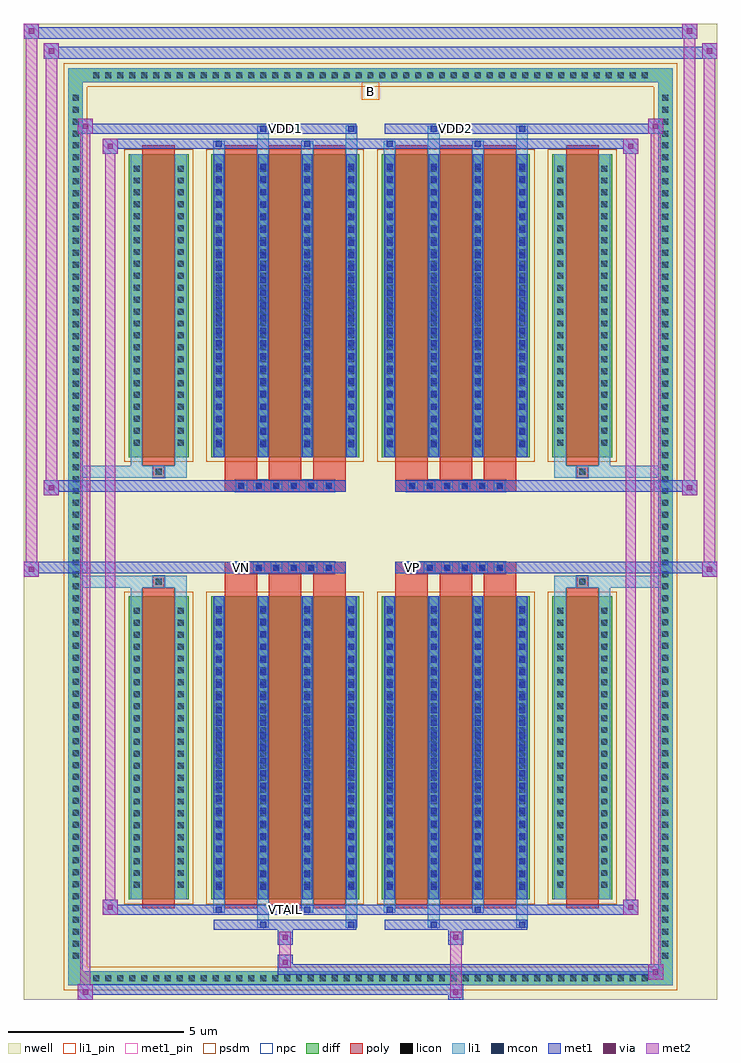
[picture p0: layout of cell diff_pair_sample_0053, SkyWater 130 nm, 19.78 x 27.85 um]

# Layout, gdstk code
import gdstk
lib = gdstk.Library(unit=1e-6, precision=5e-09)
def R(c, l, rs):  # rectangles x0, y0, x1, y1
    for r in rs: c.add(gdstk.rectangle(r[:2], r[2:], *l))
def A(c, l, x, y, w, h, nx, ny, dx, dy):  # array of equal rectangles
    R(c, l, [(x+i*dx, y+j*dy, x+i*dx+w, y+j*dy+h) for i in range(nx) for j in range(ny)])
def P(c, l, *ps):  # polygons
    for p in ps: c.add(gdstk.Polygon(p, *l))
nwell = (64, 20)
diff = (65, 20)
poly = (66, 20)
licon = (66, 44)
li1_pin = (67, 16)
li1 = (67, 20)
mcon = (67, 44)
met1_pin = (68, 16)
met1 = (68, 20)
via = (68, 44)
met2 = (69, 20)
psdm = (94, 20)
npc = (95, 20)

diff_pair_sample_0053 = lib.new_cell('diff_pair_sample_0053')
R(diff_pair_sample_0053, nwell, [(-9.89,-13.49,9.89,14.36), (-7.21,-11.68,-0.01,-0.8), (0.01,-11.68,7.21,-0.8), (-7.21,0.8,-0.01,11.68), (0.01,0.8,7.21,11.68)])
A(diff_pair_sample_0053, diff, -8.025, -13.09, 0.41, 0.41, 47, 2, 0.34, 25.77)
A(diff_pair_sample_0053, diff, -8.62, -12.445, 0.41, 0.41, 1, 73, 0, 0.34)
A(diff_pair_sample_0053, diff, 8.21, -12.445, 0.41, 0.41, 1, 73, 0, 0.34)
R(diff_pair_sample_0053, diff, [(-8.025,-13.09,8.025,-12.68), (-8.62,-12.445,-8.21,12.445), (8.21,-12.445,8.62,12.445), (-6.9,-10.635,-5.19,-1.985), (-4.55,-10.635,-0.32,-1.985), (0.32,-10.635,4.55,-1.985), (5.19,-10.635,6.9,-1.985), (-6.9,1.985,-5.19,10.635), (-4.55,1.985,-0.32,10.635), (0.32,1.985,4.55,10.635), (5.19,1.985,6.9,10.635), (-8.025,12.68,8.025,13.09)])
P(diff_pair_sample_0053, diff, [(8.62,13.09),(-8.62,13.09),(-8.62,-12.68),(-8.21,-12.68),(-8.21,12.68),(8.21,12.68),(8.21,-12.68),(-8.21,-12.68),(-8.62,-12.68),(-8.62,-13.09),(8.62,-13.09)])
A(diff_pair_sample_0053, poly, -4.16, -10.885, 0.93, 9.15, 3, 2, 1.26, 12.62)
A(diff_pair_sample_0053, poly, 0.71, -10.885, 0.93, 9.15, 3, 2, 1.26, 12.62)
A(diff_pair_sample_0053, poly, -4.16, -1.735, 0.93, 0.405, 3, 2, 1.26, 3.065)
A(diff_pair_sample_0053, poly, 0.71, -1.735, 0.93, 0.405, 3, 2, 1.26, 3.065)
A(diff_pair_sample_0053, poly, -3.85, -1.33, 0.33, 0.33, 6, 2, 0.5, 2.33)
A(diff_pair_sample_0053, poly, 1.02, -1.33, 0.33, 0.33, 6, 2, 0.5, 2.33)
R(diff_pair_sample_0053, poly, [(-6.51,-10.885,-5.58,-1.735), (5.58,-10.885,6.51,-1.735), (-6.21,-1.735,-5.88,-1.405), (-6.21,-1.735,-5.88,-1.405), (5.88,-1.735,6.21,-1.405), (5.88,-1.735,6.21,-1.405), (-4.16,-1.33,-0.71,-1), (0.71,-1.33,4.16,-1), (-4.16,1,-0.71,1.33), (0.71,1,4.16,1.33), (-6.21,1.405,-5.88,1.735), (-6.21,1.405,-5.88,1.735), (5.88,1.405,6.21,1.735), (5.88,1.405,6.21,1.735), (-6.51,1.735,-5.58,10.885), (5.58,1.735,6.51,10.885)])
A(diff_pair_sample_0053, licon, -7.905, -12.97, 0.17, 0.17, 47, 2, 0.34, 25.77)
A(diff_pair_sample_0053, licon, -8.5, -12.325, 0.17, 0.17, 1, 73, 0, 0.34)
A(diff_pair_sample_0053, licon, 8.33, -12.325, 0.17, 0.17, 1, 73, 0, 0.34)
A(diff_pair_sample_0053, licon, -6.76, -10.305, 0.17, 0.17, 1, 24, 0, 0.34)
A(diff_pair_sample_0053, licon, -5.5, -10.305, 0.17, 0.17, 1, 24, 0, 0.34)
A(diff_pair_sample_0053, licon, -4.41, -10.305, 0.17, 0.17, 4, 24, 1.26, 0.34)
A(diff_pair_sample_0053, licon, 0.46, -10.305, 0.17, 0.17, 4, 24, 1.26, 0.34)
A(diff_pair_sample_0053, licon, 5.33, -10.305, 0.17, 0.17, 1, 24, 0, 0.34)
A(diff_pair_sample_0053, licon, 6.59, -10.305, 0.17, 0.17, 1, 24, 0, 0.34)
A(diff_pair_sample_0053, licon, -3.77, -1.25, 0.17, 0.17, 6, 2, 0.5, 2.33)
A(diff_pair_sample_0053, licon, 1.1, -1.25, 0.17, 0.17, 6, 2, 0.5, 2.33)
A(diff_pair_sample_0053, licon, -6.76, 2.315, 0.17, 0.17, 1, 24, 0, 0.34)
A(diff_pair_sample_0053, licon, -5.5, 2.315, 0.17, 0.17, 1, 24, 0, 0.34)
A(diff_pair_sample_0053, licon, -4.41, 2.315, 0.17, 0.17, 4, 24, 1.26, 0.34)
A(diff_pair_sample_0053, licon, 0.46, 2.315, 0.17, 0.17, 4, 24, 1.26, 0.34)
A(diff_pair_sample_0053, licon, 5.33, 2.315, 0.17, 0.17, 1, 24, 0, 0.34)
A(diff_pair_sample_0053, licon, 6.59, 2.315, 0.17, 0.17, 1, 24, 0, 0.34)
R(diff_pair_sample_0053, licon, [(-6.13,-1.655,-5.96,-1.485), (5.96,-1.655,6.13,-1.485), (-6.13,1.485,-5.96,1.655), (5.96,1.485,6.13,1.655)])
R(diff_pair_sample_0053, li1_pin, [(-0.25,12.18,0.25,12.68)])
A(diff_pair_sample_0053, li1, -7.985, -13.05, 0.33, 0.33, 47, 2, 0.34, 25.77)
A(diff_pair_sample_0053, li1, -8.58, -12.405, 0.33, 0.33, 1, 73, 0, 0.34)
A(diff_pair_sample_0053, li1, 8.25, -12.405, 0.33, 0.33, 1, 73, 0, 0.34)
A(diff_pair_sample_0053, li1, -4.49, -10.635, 0.33, 8.65, 4, 2, 1.26, 12.62)
A(diff_pair_sample_0053, li1, 0.38, -10.635, 0.33, 8.65, 4, 2, 1.26, 12.62)
A(diff_pair_sample_0053, li1, -6.84, -10.385, 0.33, 0.33, 1, 24, 0, 0.34)
A(diff_pair_sample_0053, li1, -5.58, -10.385, 0.33, 0.33, 1, 24, 0, 0.34)
A(diff_pair_sample_0053, li1, -4.49, -10.385, 0.33, 0.33, 4, 24, 1.26, 0.34)
A(diff_pair_sample_0053, li1, 0.38, -10.385, 0.33, 0.33, 4, 24, 1.26, 0.34)
A(diff_pair_sample_0053, li1, 5.25, -10.385, 0.33, 0.33, 1, 24, 0, 0.34)
A(diff_pair_sample_0053, li1, 6.51, -10.385, 0.33, 0.33, 1, 24, 0, 0.34)
A(diff_pair_sample_0053, li1, -4.41, -10.355, 0.17, 0.17, 4, 23, 1.26, 0.36)
A(diff_pair_sample_0053, li1, -4.41, -10.355, 0.17, 8.09, 4, 2, 1.26, 12.62)
A(diff_pair_sample_0053, li1, 0.46, -10.355, 0.17, 0.17, 4, 23, 1.26, 0.36)
A(diff_pair_sample_0053, li1, 0.46, -10.355, 0.17, 8.09, 4, 2, 1.26, 12.62)
A(diff_pair_sample_0053, li1, -3.85, -1.33, 0.33, 0.33, 6, 2, 0.5, 2.33)
A(diff_pair_sample_0053, li1, 1.02, -1.33, 0.33, 0.33, 6, 2, 0.5, 2.33)
A(diff_pair_sample_0053, li1, -6.84, 2.235, 0.33, 0.33, 1, 24, 0, 0.34)
A(diff_pair_sample_0053, li1, -5.58, 2.235, 0.33, 0.33, 1, 24, 0, 0.34)
A(diff_pair_sample_0053, li1, -4.49, 2.235, 0.33, 0.33, 4, 24, 1.26, 0.34)
A(diff_pair_sample_0053, li1, 0.38, 2.235, 0.33, 0.33, 4, 24, 1.26, 0.34)
A(diff_pair_sample_0053, li1, 5.25, 2.235, 0.33, 0.33, 1, 24, 0, 0.34)
A(diff_pair_sample_0053, li1, 6.51, 2.235, 0.33, 0.33, 1, 24, 0, 0.34)
A(diff_pair_sample_0053, li1, -4.41, 2.265, 0.17, 0.17, 4, 23, 1.26, 0.36)
A(diff_pair_sample_0053, li1, 0.46, 2.265, 0.17, 0.17, 4, 23, 1.26, 0.36)
R(diff_pair_sample_0053, li1, [(-8.62,-13.09,-8.21,-12.68), (-8.62,-13.09,-8.21,-12.68), (-8.21,-13.09,8.21,-12.68), (8.21,-13.09,8.62,-12.68), (8.21,-13.09,8.62,-12.68), (-8.62,-12.68,-8.21,12.68), (8.21,-12.68,8.62,12.68), (-3.23,-11.44,-2.9,-10.635), (-3.15,-11.44,-2.98,-11.27), (-0.71,-11.44,-0.38,-10.635), (-0.63,-11.44,-0.46,-11.27), (1.64,-11.44,1.97,-10.635), (1.72,-11.44,1.89,-11.27), (4.16,-11.44,4.49,-10.635), (4.24,-11.44,4.41,-11.27), (-4.49,-11.01,-4.16,-10.635), (-4.41,-11.01,-4.24,-10.84), (-1.97,-11.01,-1.64,-10.635), (-1.89,-11.01,-1.72,-10.84), (0.38,-11.01,0.71,-10.635), (0.46,-11.01,0.63,-10.84), (2.9,-11.01,3.23,-10.635), (2.98,-11.01,3.15,-10.84), (-6.84,-10.635,-6.51,-1.985), (-5.58,-10.635,-5.25,-1.985), (5.25,-10.635,5.58,-1.985), (6.51,-10.635,6.84,-1.985), (-6.84,-1.985,-6.51,-1.405), (-5.58,-1.985,-5.25,-1.405), (5.25,-1.985,5.58,-1.405), (6.51,-1.985,6.84,-1.405), (-8.62,-1.735,-6.21,-1.405), (-6.84,-1.735,-6.21,-1.405), (-6.21,-1.735,-5.88,-1.405), (-5.88,-1.735,-5.25,-1.405), (5.25,-1.735,5.88,-1.405), (5.88,-1.735,6.21,-1.405), (5.88,-1.735,8.62,-1.405), (6.21,-1.735,6.84,-1.405), (-8.62,1.405,-6.21,1.735), (-6.84,1.405,-6.21,1.735), (-6.84,1.405,-6.51,1.985), (-6.21,1.405,-5.88,1.735), (-5.88,1.405,-5.25,1.735), (-5.58,1.405,-5.25,1.985), (5.25,1.405,5.88,1.735), (5.25,1.405,5.58,1.985), (5.88,1.405,6.21,1.735), (5.88,1.405,8.62,1.735), (6.21,1.405,6.84,1.735), (6.51,1.405,6.84,1.985), (-6.84,1.985,-6.51,10.635), (-5.58,1.985,-5.25,10.635), (5.25,1.985,5.58,10.635), (6.51,1.985,6.84,10.635), (-4.49,10.635,-4.16,11.01), (-3.23,10.635,-2.9,11.44), (-1.97,10.635,-1.64,11.01), (-0.71,10.635,-0.38,11.44), (0.38,10.635,0.71,11.01), (1.64,10.635,1.97,11.44), (2.9,10.635,3.23,11.01), (4.16,10.635,4.49,11.44), (-4.41,10.84,-4.24,11.01), (-1.89,10.84,-1.72,11.01), (0.46,10.84,0.63,11.01), (2.98,10.84,3.15,11.01), (-3.15,11.27,-2.98,11.44), (-0.63,11.27,-0.46,11.44), (1.72,11.27,1.89,11.44), (4.24,11.27,4.41,11.44), (-8.62,12.68,-8.21,13.09), (-8.62,12.68,-8.21,13.09), (-8.21,12.68,8.21,13.09), (8.21,12.68,8.62,13.09), (8.21,12.68,8.62,13.09)])
A(diff_pair_sample_0053, mcon, -4.41, -10.355, 0.17, 0.17, 4, 23, 1.26, 0.36)
A(diff_pair_sample_0053, mcon, 0.46, -10.355, 0.17, 0.17, 4, 23, 1.26, 0.36)
A(diff_pair_sample_0053, mcon, -3.77, -1.25, 0.17, 0.17, 6, 2, 0.5, 2.33)
A(diff_pair_sample_0053, mcon, 1.1, -1.25, 0.17, 0.17, 6, 2, 0.5, 2.33)
A(diff_pair_sample_0053, mcon, -4.41, 2.265, 0.17, 0.17, 4, 23, 1.26, 0.36)
A(diff_pair_sample_0053, mcon, 0.46, 2.265, 0.17, 0.17, 4, 23, 1.26, 0.36)
R(diff_pair_sample_0053, mcon, [(-3.15,-11.44,-2.98,-11.27), (-0.63,-11.44,-0.46,-11.27), (1.72,-11.44,1.89,-11.27), (4.24,-11.44,4.41,-11.27), (-4.41,-11.01,-4.24,-10.84), (-1.89,-11.01,-1.72,-10.84), (0.46,-11.01,0.63,-10.84), (2.98,-11.01,3.15,-10.84), (-4.41,10.84,-4.24,11.01), (-1.89,10.84,-1.72,11.01), (0.46,10.84,0.63,11.01), (2.98,10.84,3.15,11.01), (-3.15,11.27,-2.98,11.44), (-0.63,11.27,-0.46,11.44), (1.72,11.27,1.89,11.44), (4.24,11.27,4.41,11.44)])
R(diff_pair_sample_0053, met1_pin, [(-2.57,-11.05,-2.3,-10.78), (-3.82,-1.29,-3.55,-1.02), (1.05,-1.29,1.32,-1.02), (-2.57,11.23,-2.3,11.5), (2.3,11.23,2.57,11.5)])
A(diff_pair_sample_0053, met1, -4.47, -10.635, 0.29, 8.65, 4, 2, 1.26, 12.62)
A(diff_pair_sample_0053, met1, 0.4, -10.635, 0.29, 8.65, 4, 2, 1.26, 12.62)
A(diff_pair_sample_0053, met1, -4.47, -10.415, 0.29, 0.29, 4, 23, 1.26, 0.36)
A(diff_pair_sample_0053, met1, 0.4, -10.415, 0.29, 0.29, 4, 23, 1.26, 0.36)
A(diff_pair_sample_0053, met1, -3.83, -1.31, 0.29, 0.29, 6, 2, 0.5, 2.33)
A(diff_pair_sample_0053, met1, 1.04, -1.31, 0.29, 0.29, 6, 2, 0.5, 2.33)
A(diff_pair_sample_0053, met1, -4.47, 2.205, 0.29, 0.29, 4, 23, 1.26, 0.36)
A(diff_pair_sample_0053, met1, 0.4, 2.205, 0.29, 0.29, 4, 23, 1.26, 0.36)
R(diff_pair_sample_0053, met1, [(-8.35,-13.49,-7.92,-13.06), (2.22,-13.49,2.65,-13.06), (-8.35,-13.35,2.65,-13.06), (7.92,-12.92,8.35,-12.49), (-2.65,-12.78,8.35,-12.49), (-2.65,-12.64,-2.22,-12.21), (-2.65,-11.93,-2.22,-11.5), (2.22,-11.93,2.65,-11.5), (-4.47,-11.5,-0.4,-11.21), (-3.21,-11.5,-2.92,-11.21), (-0.69,-11.5,-0.4,-11.21), (0.4,-11.5,4.47,-11.21), (1.66,-11.5,1.95,-11.21), (4.18,-11.5,4.47,-11.21), (-7.64,-11.07,-7.21,-10.64), (-7.64,-11.07,-4.47,-10.78), (-4.47,-11.07,-4.18,-10.78), (-4.47,-11.07,-0.4,-10.78), (-1.95,-11.07,-1.66,-10.78), (-0.4,-11.07,0.4,-10.78), (0.4,-11.07,0.69,-10.78), (0.4,-11.07,4.47,-10.78), (2.92,-11.07,3.21,-10.78), (4.47,-11.07,7.64,-10.78), (7.21,-11.07,7.64,-10.64), (-9.89,-1.43,-9.46,-1), (9.46,-1.43,9.89,-1), (-9.89,-1.33,-0.71,-1), (-4.16,-1.33,-0.71,-1), (0.71,-1.33,4.16,-1), (0.71,-1.33,9.89,-1), (-9.32,0.9,-8.89,1.33), (8.89,0.9,9.32,1.33), (-9.32,1,-4.16,1.33), (-4.16,1,-0.71,1.33), (0.71,1,4.16,1.33), (4.16,1,9.32,1.33), (-7.64,10.64,-7.21,11.07), (7.21,10.64,7.64,11.07), (-7.64,10.78,-4.47,11.07), (-4.47,10.78,-4.18,11.07), (-4.47,10.78,-0.4,11.07), (-1.95,10.78,-1.66,11.07), (-0.4,10.78,0.4,11.07), (0.4,10.78,0.69,11.07), (0.4,10.78,4.47,11.07), (2.92,10.78,3.21,11.07), (4.47,10.78,7.64,11.07), (-8.35,11.21,-7.92,11.64), (-8.35,11.21,-4.47,11.5), (-4.47,11.21,-0.4,11.5), (-3.21,11.21,-2.92,11.5), (-0.69,11.21,-0.4,11.5), (0.4,11.21,4.47,11.5), (1.66,11.21,1.95,11.5), (4.18,11.21,4.47,11.5), (4.47,11.21,8.35,11.5), (7.92,11.21,8.35,11.64), (-9.32,13.36,-8.89,13.79), (-9.32,13.36,-7.21,13.69), (-7.21,13.36,7.21,13.69), (7.21,13.36,9.89,13.69), (9.46,13.36,9.89,13.79), (-9.89,13.93,-9.46,14.36), (-9.89,13.93,-7.21,14.26), (-7.21,13.93,7.21,14.26), (7.21,13.93,9.32,14.26), (8.89,13.93,9.32,14.36)])
R(diff_pair_sample_0053, via, [(-8.21,-13.35,-8.06,-13.2), (2.36,-13.35,2.51,-13.2), (8.06,-12.78,8.21,-12.63), (-2.51,-12.5,-2.36,-12.35), (-2.51,-11.79,-2.36,-11.64), (2.36,-11.79,2.51,-11.64), (-7.5,-10.93,-7.35,-10.78), (7.35,-10.93,7.5,-10.78), (-9.75,-1.29,-9.6,-1.14), (9.6,-1.29,9.75,-1.14), (-9.18,1.04,-9.03,1.19), (9.03,1.04,9.18,1.19), (-7.5,10.78,-7.35,10.93), (7.35,10.78,7.5,10.93), (-8.21,11.35,-8.06,11.5), (8.06,11.35,8.21,11.5), (-9.18,13.5,-9.03,13.65), (9.6,13.5,9.75,13.65), (-9.75,14.07,-9.6,14.22), (9.03,14.07,9.18,14.22)])
R(diff_pair_sample_0053, met2, [(-8.35,-13.49,-7.92,-13.06), (-8.28,-13.49,-7.99,11.64), (-7.99,-13.49,-7.92,-13.06), (-8.3,-13.44,-7.97,-13.11), (2.27,-13.44,2.6,-13.11), (2.27,-13.11,2.6,-11.88), (7.92,-12.92,8.35,-12.49), (7.99,-12.92,8.28,11.64), (8.28,-12.92,8.35,-12.49), (7.97,-12.87,8.3,-12.54), (-2.6,-12.59,-2.27,-12.26), (-2.6,-12.26,-2.27,-11.88), (-2.6,-11.88,-2.27,-11.55), (2.27,-11.88,2.6,-11.55), (-7.64,-11.07,-7.21,-10.64), (-7.57,-11.07,-7.28,11.07), (-7.28,-11.07,-7.21,-10.64), (7.21,-11.07,7.64,-10.64), (7.28,-11.07,7.57,11.07), (7.57,-11.07,7.64,-10.64), (-7.59,-11.02,-7.26,-10.69), (7.26,-11.02,7.59,-10.69), (-9.89,-1.43,-9.46,-1), (-9.84,-1.43,-9.51,14.36), (-9.51,-1.43,-9.46,-1), (9.46,-1.43,9.89,-1), (9.51,-1.43,9.84,13.79), (9.84,-1.43,9.89,-1), (-9.84,-1.38,-9.51,-1.05), (9.51,-1.38,9.84,-1.05), (-9.32,0.9,-8.89,1.33), (-9.27,0.9,-8.94,13.79), (-8.94,0.9,-8.89,1.33), (8.89,0.9,9.32,1.33), (8.94,0.9,9.27,14.36), (9.27,0.9,9.32,1.33), (-9.27,0.95,-8.94,1.28), (8.94,0.95,9.27,1.28), (-7.64,10.64,-7.21,11.07), (-7.28,10.64,-7.21,11.07), (7.21,10.64,7.64,11.07), (7.57,10.64,7.64,11.07), (-7.59,10.69,-7.26,11.02), (7.26,10.69,7.59,11.02), (-8.35,11.21,-7.92,11.64), (-7.99,11.21,-7.92,11.64), (7.92,11.21,8.35,11.64), (8.28,11.21,8.35,11.64), (-8.3,11.26,-7.97,11.59), (7.97,11.26,8.3,11.59), (-9.32,13.36,-8.89,13.79), (-8.94,13.36,-8.89,13.79), (9.46,13.36,9.89,13.79), (9.84,13.36,9.89,13.79), (-9.27,13.41,-8.94,13.74), (9.51,13.41,9.84,13.74), (-9.89,13.93,-9.46,14.36), (-9.51,13.93,-9.46,14.36), (8.89,13.93,9.32,14.36), (9.27,13.93,9.32,14.36), (-9.84,13.98,-9.51,14.31), (8.94,13.98,9.27,14.31)])
R(diff_pair_sample_0053, psdm, [(-7.03,-10.765,-5.06,-1.855), (-4.68,-10.765,-0.19,-1.855), (0.19,-10.765,4.68,-1.855), (5.06,-10.765,7.03,-1.855), (-7.03,1.855,-5.06,10.765), (-4.68,1.855,-0.19,10.765), (0.19,1.855,4.68,10.765), (5.06,1.855,7.03,10.765)])
P(diff_pair_sample_0053, psdm, [(8.75,13.22),(-8.75,13.22),(-8.75,-12.55),(-8.08,-12.55),(-8.08,12.55),(8.08,12.55),(8.08,-12.55),(-8.08,-12.55),(-8.75,-12.55),(-8.75,-13.22),(8.75,-13.22)])
A(diff_pair_sample_0053, npc, -3.87, -1.35, 0.37, 0.37, 6, 2, 0.5, 2.33)
A(diff_pair_sample_0053, npc, 1, -1.35, 0.37, 0.37, 6, 2, 0.5, 2.33)
R(diff_pair_sample_0053, npc, [(-6.23,-1.755,-5.86,-1.385), (5.86,-1.755,6.23,-1.385), (-3.87,-1.35,-3,-0.98), (-3.87,-1.35,-3,-0.98), (-3.37,-1.35,-2.5,-0.98), (-3.37,-1.35,-2.5,-0.98), (-2.87,-1.35,-2,-0.98), (-2.87,-1.35,-2,-0.98), (-2.37,-1.35,-1.5,-0.98), (-2.37,-1.35,-1.5,-0.98), (-1.87,-1.35,-1,-0.98), (-1.87,-1.35,-1,-0.98), (1,-1.35,1.87,-0.98), (1,-1.35,1.87,-0.98), (1.5,-1.35,2.37,-0.98), (1.5,-1.35,2.37,-0.98), (2,-1.35,2.87,-0.98), (2,-1.35,2.87,-0.98), (2.5,-1.35,3.37,-0.98), (2.5,-1.35,3.37,-0.98), (3,-1.35,3.87,-0.98), (3,-1.35,3.87,-0.98), (-3.87,0.98,-3,1.35), (-3.87,0.98,-3,1.35), (-3.37,0.98,-2.5,1.35), (-3.37,0.98,-2.5,1.35), (-2.87,0.98,-2,1.35), (-2.87,0.98,-2,1.35), (-2.37,0.98,-1.5,1.35), (-2.37,0.98,-1.5,1.35), (-1.87,0.98,-1,1.35), (-1.87,0.98,-1,1.35), (1,0.98,1.87,1.35), (1,0.98,1.87,1.35), (1.5,0.98,2.37,1.35), (1.5,0.98,2.37,1.35), (2,0.98,2.87,1.35), (2,0.98,2.87,1.35), (2.5,0.98,3.37,1.35), (2.5,0.98,3.37,1.35), (3,0.98,3.87,1.35), (3,0.98,3.87,1.35), (-6.23,1.385,-5.86,1.755), (5.86,1.385,6.23,1.755)])
diff_pair_sample_0053.add(gdstk.Label('VTAIL', (-2.435,-10.915), layer=68, texttype=5))
diff_pair_sample_0053.add(gdstk.Label('VN', (-3.685,-1.155), layer=68, texttype=5))
diff_pair_sample_0053.add(gdstk.Label('VP', (1.185,-1.155), layer=68, texttype=5))
diff_pair_sample_0053.add(gdstk.Label('B', (0,12.43), layer=67, texttype=5))
diff_pair_sample_0053.add(gdstk.Label('VDD2', (2.435,11.365), layer=68, texttype=5))
diff_pair_sample_0053.add(gdstk.Label('VDD1', (-2.435,11.365), layer=68, texttype=5))

lib.write_gds('diff_pair_sample_0053.gds')
